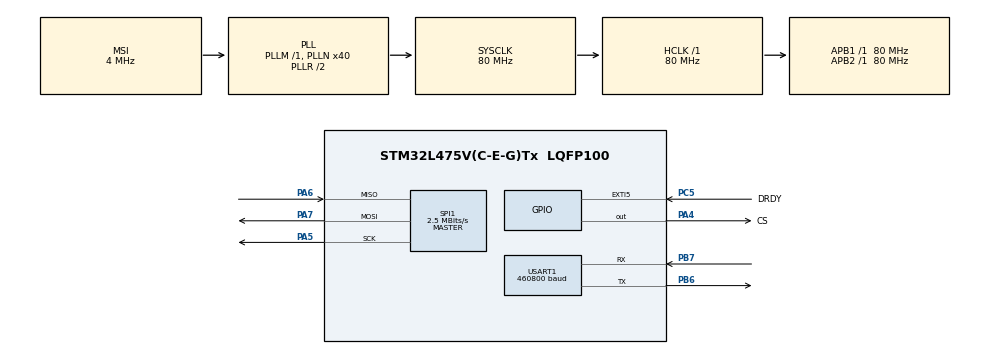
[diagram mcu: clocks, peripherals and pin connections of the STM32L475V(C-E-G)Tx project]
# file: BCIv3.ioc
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Dma.Request0=SPI1_RX
Dma.SPI1_RX.0.Direction=DMA_PERIPH_TO_MEMORY
Dma.SPI1_RX.0.Instance=DMA1_Channel2
Dma.SPI1_RX.0.MemDataAlignment=DMA_MDATAALIGN_BYTE
Dma.SPI1_RX.0.MemInc=DMA_MINC_ENABLE
Dma.SPI1_RX.0.Mode=DMA_NORMAL
Dma.SPI1_RX.0.PeriphDataAlignment=DMA_PDATAALIGN_BYTE
Dma.SPI1_RX.0.PeriphInc=DMA_PINC_DISABLE
Dma.SPI1_RX.0.Priority=DMA_PRIORITY_LOW
Mcu.Family=STM32L4
Mcu.Name=STM32L475V(C-E-G)Tx
Mcu.Package=LQFP100
NVIC.DMA1_Channel2_IRQn=true\:0\:0\:false\:false\:true\:false\:true
NVIC.EXTI9_5_IRQn=true\:0\:0\:false\:false\:true\:true\:true
NVIC.PriorityGroup=NVIC_PRIORITYGROUP_4
NVIC.SPI1_IRQn=true\:0\:0\:false\:false\:true\:true\:true
NVIC.USART1_IRQn=true\:0\:0\:false\:false\:true\:true\:true
PA4.GPIO_Label=CS
PA4.Signal=GPIO_Output
PA5.GPIO_PuPd=GPIO_NOPULL
PA5.Mode=Full_Duplex_Master
PA5.Signal=SPI1_SCK
PA6.GPIO_PuPd=GPIO_NOPULL
PA6.Mode=Full_Duplex_Master
PA6.Signal=SPI1_MISO
PA7.GPIO_PuPd=GPIO_NOPULL
PA7.Mode=Full_Duplex_Master
PA7.Signal=SPI1_MOSI
PB6.Mode=Asynchronous
PB6.Signal=USART1_TX
PB7.Mode=Asynchronous
PB7.Signal=USART1_RX
PC5.GPIO_Label=DRDY
PC5.GPIO_ModeDefaultEXTI=GPIO_MODE_IT_FALLING
PC5.Signal=GPXTI5
ProjectManager.HeapSize=0x200
ProjectManager.StackSize=0x400
ProjectManager.TargetToolchain=STM32CubeIDE
RCC.ADCFreq_Value=48000000
RCC.AHBFreq_Value=80000000
RCC.APB1Freq_Value=80000000
RCC.APB1TimFreq_Value=80000000
RCC.APB2Freq_Value=80000000
RCC.APB2TimFreq_Value=80000000
RCC.CortexFreq_Value=80000000
RCC.HCLKFreq_Value=80000000
RCC.HSE_VALUE=8000000
RCC.HSI_VALUE=16000000
RCC.LSE_VALUE=32768
RCC.MSI_VALUE=4000000
RCC.PLLN=40
RCC.PLLSAI1N=24
RCC.SYSCLKFreq_VALUE=80000000
RCC.SYSCLKSource=RCC_SYSCLKSOURCE_PLLCLK
RCC.USBFreq_Value=48000000
RCC.VCOOutputFreq_Value=160000000
SPI1.BaudRatePrescaler=SPI_BAUDRATEPRESCALER_32
SPI1.CLKPhase=SPI_PHASE_2EDGE
SPI1.CalculateBaudRate=2.5 MBits/s
SPI1.DataSize=SPI_DATASIZE_8BIT
SPI1.Direction=SPI_DIRECTION_2LINES
SPI1.Mode=SPI_MODE_MASTER
SPI1.VirtualType=VM_MASTER
USART1.BaudRate=460800
USART1.VirtualMode-Asynchronous=VM_ASYNC
board=B-L475E-IOT01A2

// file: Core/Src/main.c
/* USER CODE BEGIN Header */
/**
 ******************************************************************************
 * @file           : main.c
 * @brief          : Main program body
 ******************************************************************************
 * @attention
 *
 * <h2><center>&copy; Copyright (c) 2020 STMicroelectronics.
 * All rights reserved.</center></h2>
 *
 * This software component is licensed by ST under BSD 3-Clause license,
 * the "License"; You may not use this file except in compliance with the
 * License. You may obtain a copy of the License at:
 *                        opensource.org/licenses/BSD-3-Clause
 *
 ******************************************************************************
 */
/* USER CODE END Header */
#include "main.h"

SPI_HandleTypeDef hspi1;
DMA_HandleTypeDef hdma_spi1_rx;

UART_HandleTypeDef huart1;

void SystemClock_Config(void);
static void MX_GPIO_Init(void);
static void MX_DMA_Init(void);
static void MX_SPI1_Init(void);
static void MX_USART1_UART_Init(void);
/* USER CODE BEGIN PFP */
void HAL_GPIO_EXTI_Callback(uint16_t GPIO_Pin);
void HAL_UART_RxCpltCallback(UART_HandleTypeDef *huart);
/* USER CODE END PFP */

/* USER CODE BEGIN 0 */
uint8_t ext_flag = 0; //interrupt flag for the data ready signal (DRDY)
uint8_t uart_rx_flag = 0; //flag which enables receiving commands over UART (start/stop UART transmission commands)
volatile uint8_t data_buffer[108] = { 0 }; //buffer where the received data from the ADS1299 is stored
uint8_t dummy_data_buffer[500] = { 0 }; //data that is needed so that the SPI HAl implementation does not transmit any data while receiving data
uint8_t rx_data_uart = 0; //buffer for storing commands received over UART
uint8_t uart_rx_data_parse_flag = 0; //flag which enables parsing of incoming UART commands
uint8_t uart_tx_data_enable_flag = 0; //flag which enables EEG data transmission over UART
uint8_t number_of_connected_ads1299 = 1; //TODO: change this for multi-device setup
/* USER CODE END 0 */

int main(void) {

	/* MCU Configuration--------------------------------------------------------*/

	/* Reset of all peripherals, Initializes the Flash interface and the Systick. */
	HAL_Init();

	/* Configure the system clock */
	SystemClock_Config();

	/* Initialize all configured peripherals */
	MX_GPIO_Init();
	MX_DMA_Init();
	MX_SPI1_Init();
	MX_USART1_UART_Init();
	/* USER CODE BEGIN 2 */
	//ADS1299 STARTUP SEQUENCE
	__DSB();//forces that all memory accesses most be finished
	HAL_GPIO_WritePin(GPIOA, CS_Pin, GPIO_PIN_SET);
	HAL_Delay(4); //delay so that there is enought time for the ADS1299 to reset the SPI interface
	HAL_GPIO_WritePin(GPIOA, CS_Pin, GPIO_PIN_RESET);
	__DSB();//forces that all memory accesses most be finished
	ADS1299_Reset(); //ADS1299 is reset on startup
	__DSB();//forces that all memory accesses most be finished

	//--------------set all registers------------------
	HAL_Delay(5000); //set a startup delay of 5 seconds so that the ADS1299 has enough time on startup to configure itself

	ADS1299_SDATAC(); //Important
	ADS1299_SetConfig1(0, 1, 3); //daisy-chain, clock and data rate options
	ADS1299_SetConfig2(1, 0, 0); //test signal options
	ADS1299_SetConfig3(1, 0, 1, 1, 1); //Bias and reference options
	ADS1299_SetLOFF(0, 0, 0);
	//set individual channel registers: channel-off ->(i, 1, 6, 0, 1), channel-on -> (i, 0, 6, 0, 0) // TODO: turn individual channels on or off
	ADS1299_SetChannelRegister(1, 0, 6, 0, 0);
	ADS1299_SetChannelRegister(2, 0, 6, 0, 0);
	ADS1299_SetChannelRegister(3, 0, 6, 0, 0);
	ADS1299_SetChannelRegister(4, 0, 6, 0, 0);
	ADS1299_SetChannelRegister(5, 1, 6, 0, 1);
	ADS1299_SetChannelRegister(6, 1, 6, 0, 1);
	ADS1299_SetChannelRegister(7, 1, 6, 0, 1);
	ADS1299_SetChannelRegister(8, 1, 6, 0, 1);
	//Bias channel calculations settings: TODO:should be changed based on the used channels  (1 channel for bias can be sufficient)
	ADS1299_SetBIAS_SENSP(1, 0, 0, 0, 0, 0, 0, 0); //this determines which channels are used for bias calculations
	ADS1299_SetBIAS_SENSN(1, 0, 0, 0, 0, 0, 0, 0); //this determines which channels are used for bias calculations
	ADS1299_SetLOFF_SENSP();
	ADS1299_SetLOFF_SENSN();
	ADS1299_SetLOFF_FLIP();
	ADS1299_SetMISC1(1); //SRB1: enable referential mode
	ADS1299_SetConfig4(0, 0); //single shot conversation and lead off PowerDown
	//verify configuration
	uint8_t return_reg = 0;
	ADS1299_RREG(0xE, &return_reg); //confirm MISC1

	//TODO: for multi device daisy chain only enable CLK_EN on the first ADS1299 (the one that has no DOUT) and
	// also power down all other Bias buffer (set PD_BUFFER = 0 for all 3 other devices)

	ADS1299_RDATAC();
	//----------end of register setup---------------

	ADS1299_Start();
	__DSB(); //forces that all memory accesses most be finished

	/* USER CODE END 2 */

	/* Infinite loop */
	/* USER CODE BEGIN WHILE */
	ext_flag = RESET;
	uart_rx_flag = RESET;
	uart_rx_data_parse_flag = RESET;
	while (1) {
		if (ext_flag) { //EEG data processing loop
			//receive data EEG from the ModulareBCI board
			HAL_SPI_TransmitReceive(&hspi1, dummy_data_buffer,
					(uint8_t*) data_buffer, 27 * number_of_connected_ads1299,
					HAL_MAX_DELAY);
			if (uart_tx_data_enable_flag) {
				//transmit EEG data to OpenVibe
				HAL_UART_Transmit(&huart1, (uint8_t*) data_buffer,
						27 * number_of_connected_ads1299, 100);
			}
			ext_flag = 0;
		}
		if (!uart_rx_flag) { //receiving commands over UART
			uart_rx_flag = 1;
			rx_data_uart = 0;
			HAL_UART_Receive_IT(&huart1, &rx_data_uart, 1);
		}
		if (uart_rx_data_parse_flag) { //parse commands
			if (rx_data_uart == 98) { //start data transmission over UART to computer
				uart_tx_data_enable_flag = 1;
			}
			if (rx_data_uart == 115) { //stop data transmission over UART to computer
				uart_tx_data_enable_flag = 0;
			}
			uart_rx_data_parse_flag = 0;
			uart_rx_flag = 0;
		}
		/* USER CODE END WHILE */

	}
}

void SystemClock_Config(void) {
	RCC_OscInitTypeDef RCC_OscInitStruct = { 0 };
	RCC_ClkInitTypeDef RCC_ClkInitStruct = { 0 };
	RCC_PeriphCLKInitTypeDef PeriphClkInit = { 0 };

	/** Initializes the RCC Oscillators according to the specified parameters
	 * in the RCC_OscInitTypeDef structure.
	 */
	RCC_OscInitStruct.OscillatorType = RCC_OSCILLATORTYPE_MSI;
	RCC_OscInitStruct.MSIState = RCC_MSI_ON;
	RCC_OscInitStruct.MSICalibrationValue = 0;
	RCC_OscInitStruct.MSIClockRange = RCC_MSIRANGE_6;
	RCC_OscInitStruct.PLL.PLLState = RCC_PLL_ON;
	RCC_OscInitStruct.PLL.PLLSource = RCC_PLLSOURCE_MSI;
	RCC_OscInitStruct.PLL.PLLM = 1;
	RCC_OscInitStruct.PLL.PLLN = 40;
	RCC_OscInitStruct.PLL.PLLP = RCC_PLLP_DIV7;
	RCC_OscInitStruct.PLL.PLLQ = RCC_PLLQ_DIV2;
	RCC_OscInitStruct.PLL.PLLR = RCC_PLLR_DIV2;
	if (HAL_RCC_OscConfig(&RCC_OscInitStruct) != HAL_OK) {
		Error_Handler();
	}
	/** Initializes the CPU, AHB and APB buses clocks
	 */
	RCC_ClkInitStruct.ClockType = RCC_CLOCKTYPE_HCLK | RCC_CLOCKTYPE_SYSCLK
			| RCC_CLOCKTYPE_PCLK1 | RCC_CLOCKTYPE_PCLK2;
	RCC_ClkInitStruct.SYSCLKSource = RCC_SYSCLKSOURCE_PLLCLK;
	RCC_ClkInitStruct.AHBCLKDivider = RCC_SYSCLK_DIV1;
	RCC_ClkInitStruct.APB1CLKDivider = RCC_HCLK_DIV1;
	RCC_ClkInitStruct.APB2CLKDivider = RCC_HCLK_DIV1;

	if (HAL_RCC_ClockConfig(&RCC_ClkInitStruct, FLASH_LATENCY_4) != HAL_OK) {
		Error_Handler();
	}
	PeriphClkInit.PeriphClockSelection = RCC_PERIPHCLK_USART1;
	PeriphClkInit.Usart1ClockSelection = RCC_USART1CLKSOURCE_PCLK2;
	if (HAL_RCCEx_PeriphCLKConfig(&PeriphClkInit) != HAL_OK) {
		Error_Handler();
	}
	/** Configure the main internal regulator output voltage
	 */
	if (HAL_PWREx_ControlVoltageScaling(PWR_REGULATOR_VOLTAGE_SCALE1)
			!= HAL_OK) {
		Error_Handler();
	}
}

static void MX_SPI1_Init(void) {

	/* SPI1 parameter configuration*/
	hspi1.Instance = SPI1;
	hspi1.Init.Mode = SPI_MODE_MASTER;
	hspi1.Init.Direction = SPI_DIRECTION_2LINES;
	hspi1.Init.DataSize = SPI_DATASIZE_8BIT;
	hspi1.Init.CLKPolarity = SPI_POLARITY_LOW;
	hspi1.Init.CLKPhase = SPI_PHASE_2EDGE;
	hspi1.Init.NSS = SPI_NSS_SOFT;
	hspi1.Init.BaudRatePrescaler = SPI_BAUDRATEPRESCALER_32;
	hspi1.Init.FirstBit = SPI_FIRSTBIT_MSB;
	hspi1.Init.TIMode = SPI_TIMODE_DISABLE;
	hspi1.Init.CRCCalculation = SPI_CRCCALCULATION_DISABLE;
	hspi1.Init.CRCPolynomial = 7;
	hspi1.Init.CRCLength = SPI_CRC_LENGTH_DATASIZE;
	hspi1.Init.NSSPMode = SPI_NSS_PULSE_DISABLE;
	if (HAL_SPI_Init(&hspi1) != HAL_OK) {
		Error_Handler();
	}

}

static void MX_USART1_UART_Init(void) {

	huart1.Instance = USART1;
	//huart1.Init.BaudRate = 460800;
	huart1.Init.BaudRate = 128000;
	huart1.Init.WordLength = UART_WORDLENGTH_8B;
	huart1.Init.StopBits = UART_STOPBITS_1;
	huart1.Init.Parity = UART_PARITY_NONE;
	huart1.Init.Mode = UART_MODE_TX_RX;
	huart1.Init.HwFlowCtl = UART_HWCONTROL_NONE;
	huart1.Init.OverSampling = UART_OVERSAMPLING_16;
	huart1.Init.OneBitSampling = UART_ONE_BIT_SAMPLE_DISABLE;
	huart1.AdvancedInit.AdvFeatureInit = UART_ADVFEATURE_NO_INIT;
	if (HAL_UART_Init(&huart1) != HAL_OK) {
		Error_Handler();
	}

}

static void MX_DMA_Init(void) {

	/* DMA controller clock enable */
	__HAL_RCC_DMA1_CLK_ENABLE();

	/* DMA interrupt init */
	/* DMA1_Channel2_IRQn interrupt configuration */
	HAL_NVIC_SetPriority(DMA1_Channel2_IRQn, 0, 0);
	HAL_NVIC_EnableIRQ(DMA1_Channel2_IRQn);

}

static void MX_GPIO_Init(void) {
	GPIO_InitTypeDef GPIO_InitStruct = { 0 };

	/* GPIO Ports Clock Enable */
	__HAL_RCC_GPIOA_CLK_ENABLE();
	__HAL_RCC_GPIOC_CLK_ENABLE();
	__HAL_RCC_GPIOB_CLK_ENABLE();

	/*Configure GPIO pin Output Level */
	HAL_GPIO_WritePin(CS_GPIO_Port, CS_Pin, GPIO_PIN_RESET);

	/*Configure GPIO pin : CS_Pin */
	GPIO_InitStruct.Pin = CS_Pin;
	GPIO_InitStruct.Mode = GPIO_MODE_OUTPUT_PP;
	GPIO_InitStruct.Pull = GPIO_NOPULL;
	GPIO_InitStruct.Speed = GPIO_SPEED_FREQ_LOW;
	HAL_GPIO_Init(CS_GPIO_Port, &GPIO_InitStruct);

	/*Configure GPIO pin : DRDY_Pin */
	GPIO_InitStruct.Pin = DRDY_Pin;
	GPIO_InitStruct.Mode = GPIO_MODE_IT_FALLING;
	GPIO_InitStruct.Pull = GPIO_NOPULL;
	HAL_GPIO_Init(DRDY_GPIO_Port, &GPIO_InitStruct);

	/* EXTI interrupt init*/
	HAL_NVIC_SetPriority(EXTI9_5_IRQn, 0, 0);
	HAL_NVIC_EnableIRQ(EXTI9_5_IRQn);

}

/* USER CODE BEGIN 4 */
void HAL_GPIO_EXTI_Callback(uint16_t GPIO_Pin) {
	if (GPIO_Pin == DRDY_Pin) {
		ext_flag = 1;
	}
}

void HAL_UART_RxCpltCallback(UART_HandleTypeDef *huart) {
	//uart_rx_flag = 0; //reset uart receive ongoing flag
	uart_rx_data_parse_flag = 1; //enable message parsing
}

/* USER CODE END 4 */

void Error_Handler(void) {
}

/************************ (C) COPYRIGHT STMicroelectronics *****END OF FILE****/
